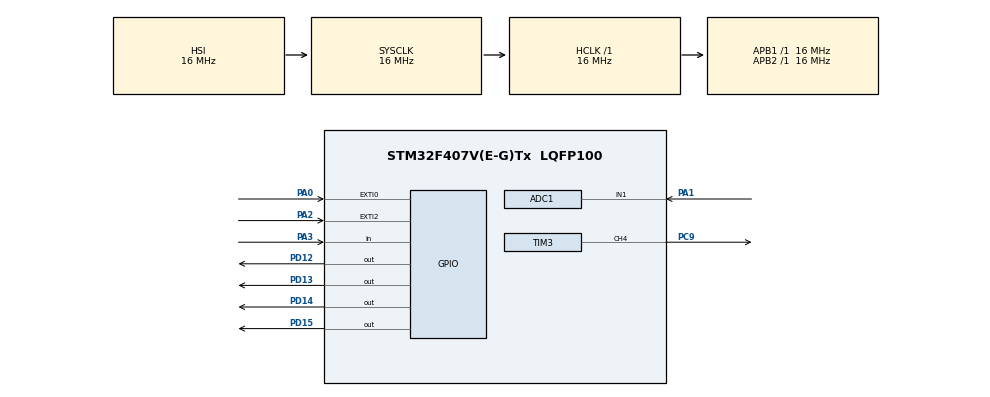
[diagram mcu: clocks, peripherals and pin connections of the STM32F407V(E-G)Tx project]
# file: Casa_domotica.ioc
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ADC1.Channel-0\#ChannelRegularConversion=ADC_CHANNEL_1
ADC1.NbrOfConversionFlag=1
ADC1.Rank-0\#ChannelRegularConversion=1
ADC1.Resolution=ADC_RESOLUTION_8B
ADC1.SamplingTime-0\#ChannelRegularConversion=ADC_SAMPLETIME_3CYCLES
ADC1.master=1
Mcu.Family=STM32F4
Mcu.Name=STM32F407V(E-G)Tx
Mcu.Package=LQFP100
NVIC.EXTI0_IRQn=true\:0\:0\:false\:false\:true\:true\:true
NVIC.EXTI2_IRQn=true\:0\:0\:false\:false\:true\:true\:true
NVIC.PriorityGroup=NVIC_PRIORITYGROUP_0
NVIC.TIM1_UP_TIM10_IRQn=true\:0\:0\:false\:false\:true\:false\:true
NVIC.TimeBase=TIM1_UP_TIM10_IRQn
NVIC.TimeBaseIP=TIM1
PA0-WKUP.Signal=GPXTI0
PA1.Signal=ADCx_IN1
PA2.Signal=GPXTI2
PA3.Signal=GPIO_Input
PC9.Signal=S_TIM3_CH4
PD12.Signal=GPIO_Output
PD13.Signal=GPIO_Output
PD14.Signal=GPIO_Output
PD15.Signal=GPIO_Output
ProjectManager.HeapSize=0x200
ProjectManager.StackSize=0x400
ProjectManager.TargetToolchain=STM32CubeIDE
RCC.48MHZClocksFreq_Value=14285714.285714285
RCC.AHBFreq_Value=16000000
RCC.APB1Freq_Value=16000000
RCC.APB1TimFreq_Value=16000000
RCC.APB2Freq_Value=16000000
RCC.APB2TimFreq_Value=16000000
RCC.CortexFreq_Value=16000000
RCC.HCLKFreq_Value=16000000
RCC.HSE_VALUE=8000000
RCC.HSI_VALUE=16000000
RCC.LSE_VALUE=32768
RCC.PLLM=8
RCC.PLLN=50
RCC.PLLP=RCC_PLLP_DIV4
RCC.PLLQ=7
RCC.SYSCLKFreq_VALUE=16000000
RCC.VCOOutputFreq_Value=100000000
SH.ADCx_IN1.0=ADC1_IN1,IN1
SH.S_TIM3_CH4.0=TIM3_CH4,PWM Generation4 CH4
TIM3.Channel-PWM\ Generation4\ CH4=TIM_CHANNEL_4
TIM3.Period=2000
TIM3.Prescaler=160
VP_SYS_VS_tim1.Mode=TIM1
VP_TIM3_VS_ClockSourceINT.Mode=Internal
board=STM32F407G-DISC1

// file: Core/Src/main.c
/* USER CODE BEGIN Header */
/**
  ******************************************************************************
  * @file           : main.c
  * @brief          : Main program body
  ******************************************************************************
  * @attention
  *
  * <h2><center>&copy; Copyright (c) 2022 STMicroelectronics.
  * All rights reserved.</center></h2>
  *
  * This software component is licensed by ST under BSD 3-Clause license,
  * the "License"; You may not use this file except in compliance with the
  * License. You may obtain a copy of the License at:
  *                        opensource.org/licenses/BSD-3-Clause
  *
  ******************************************************************************
  */
/* USER CODE END Header */
#include "main.h"

ADC_HandleTypeDef hadc1;

TIM_HandleTypeDef htim3;

void SystemClock_Config(void);
static void MX_GPIO_Init(void);
static void MX_ADC1_Init(void);
static void MX_TIM3_Init(void);

/* USER CODE BEGIN 0 */

//-----------------------------Variables globales. Ver en etapa de debugging en "Live Expressions"-----------------------------
uint16_t valor_LDR=0; //Señal del LDR.

//-----------------------------Interrupciones-----------------------------
volatile uint8_t intrusion=0; //Flag intrusión en la sala
volatile uint8_t alarma_on=0;

//-----------------------------Debounce botón alarma-----------------------------
volatile long t_ultimo_debounce=0; //IMPRESCINDIBLE INICIALIZAR
int threshold=50;// deben pasar 50ms entre señales para considerarlo pulsado de nuevo

void HAL_GPIO_EXTI_Callback(uint16_t GPIO_Pin){
	if(GPIO_Pin==GPIO_PIN_2){
		if(alarma_on==1){
			intrusion=1;
		}
	}
	if(GPIO_Pin==GPIO_PIN_0){
		if((HAL_GetTick()-t_ultimo_debounce)>threshold){ //Si han pasado al menos <Threshold> ms desde el último "HIGH"
			if(alarma_on==0) alarma_on=1;
			else alarma_on=0;
			t_ultimo_debounce=HAL_GetTick();
		}
	}
}

/* USER CODE END 0 */

int main(void)
{
  /* USER CODE BEGIN 1 */
	/*
	Pinout:
	PA0		-	Toggle alarma	-	Entrada: botón azul
	PA1		-	LDR				-	ADC1
	PA2		-	HALL			-	Interrupción
	PA3		-	PIR				-	Entrada
	---------------------------------
	PC9		-	Servo			-	TIM 3 PWM CH4
	---------------------------------
	PD12	-	Calibrando		-	Salida: LED verde
	PD13	-	Alarma:ON		-	Salida: LED naranja
	PD14	-	Intrusión		-	Salida: LED rojo
	PD15	-	Iluminación 	-	Salida: LED azul
	*/
  /* USER CODE END 1 */

  /* MCU Configuration--------------------------------------------------------*/

  /* Reset of all peripherals, Initializes the Flash interface and the Systick. */
  HAL_Init();

  /* Configure the system clock */
  SystemClock_Config();

  /* Initialize all configured peripherals */
  MX_GPIO_Init();
  MX_ADC1_Init();
  MX_TIM3_Init();
  /* USER CODE BEGIN 2 */
  //-----------------------------Flags-----------------------------
    uint8_t toldo_subido=1; 	//flag estado del toldo
    uint8_t flag_presencia=0; //flag presencia en la sala

  //-----------------------------Setup-----------------------------
  //Calibración del sensor PIR. enciendo y apago un LED de la placa para indicarlo
  HAL_GPIO_WritePin(GPIOD, GPIO_PIN_12,1);
  HAL_Delay(5000);
  HAL_GPIO_WritePin(GPIOD, GPIO_PIN_12,0);

  HAL_TIM_PWM_Start(&htim3, TIM_CHANNEL_4); //Inicio del timer para el servo
  /*
  Valores (empíricos) del servomotor
  0º 	- 	70	-	(0.7ms)
  90º 	- 	140	- 	(1.4ms)
  180º 	- 	210	-	(2.1ms)
  */
  __HAL_TIM_SET_COMPARE(&htim3, TIM_CHANNEL_4,210); // Toldo a posición inicial
  /* USER CODE END 2 */

  /* Infinite loop */
  /* USER CODE BEGIN WHILE */
  while (1)
  {
	  //Indicador de la alarma
	  HAL_GPIO_WritePin(GPIOD,GPIO_PIN_13, alarma_on);

	  //Activación de la alarma
	  HAL_GPIO_WritePin(GPIOD, GPIO_PIN_14,intrusion);

	  //Lectura del LDR por polling
	  HAL_ADC_Start(&hadc1);
	  if (HAL_ADC_PollForConversion(&hadc1,HAL_MAX_DELAY)==HAL_OK){ 	//Realizo la conversión y compruebo que el tiempo no excede al max delay
		  valor_LDR=HAL_ADC_GetValue(&hadc1); 	//Guardo el valor del LDR
	  }
	  HAL_ADC_Stop(&hadc1);

	  //Acción del servomotor (toldo) según nivel de luz
	  if(valor_LDR<100 && toldo_subido==1){ //Si da la luz intensamente
		  __HAL_TIM_SET_COMPARE(&htim3, TIM_CHANNEL_4,140); //Bajar el toldo
		  toldo_subido=0;
	  }else if (valor_LDR>100 && toldo_subido==0){
		  __HAL_TIM_SET_COMPARE(&htim3, TIM_CHANNEL_4,210); //Subir toldo
		  toldo_subido=1;
	  }

	  //Lectura del PIR por polling
	  flag_presencia=HAL_GPIO_ReadPin(GPIOA, GPIO_PIN_3); //Lectura del PIR
	  if(flag_presencia==1){
		  if (alarma_on==0) HAL_GPIO_WritePin(GPIOD, GPIO_PIN_15,1); //Encender luces
		  else intrusion=1; //Si la alarma está puesta, entonces es un intruso
	  }
	  else{
		  HAL_GPIO_WritePin(GPIOD, GPIO_PIN_15,0); //Apagar luces
	  }

    /* USER CODE END WHILE */

  }
}

void SystemClock_Config(void)
{
  RCC_OscInitTypeDef RCC_OscInitStruct = {0};
  RCC_ClkInitTypeDef RCC_ClkInitStruct = {0};

  /** Configure the main internal regulator output voltage
  */
  __HAL_RCC_PWR_CLK_ENABLE();
  __HAL_PWR_VOLTAGESCALING_CONFIG(PWR_REGULATOR_VOLTAGE_SCALE1);
  /** Initializes the RCC Oscillators according to the specified parameters
  * in the RCC_OscInitTypeDef structure.
  */
  RCC_OscInitStruct.OscillatorType = RCC_OSCILLATORTYPE_HSI;
  RCC_OscInitStruct.HSIState = RCC_HSI_ON;
  RCC_OscInitStruct.HSICalibrationValue = RCC_HSICALIBRATION_DEFAULT;
  RCC_OscInitStruct.PLL.PLLState = RCC_PLL_NONE;
  if (HAL_RCC_OscConfig(&RCC_OscInitStruct) != HAL_OK)
  {
    Error_Handler();
  }
  /** Initializes the CPU, AHB and APB buses clocks
  */
  RCC_ClkInitStruct.ClockType = RCC_CLOCKTYPE_HCLK|RCC_CLOCKTYPE_SYSCLK
                              |RCC_CLOCKTYPE_PCLK1|RCC_CLOCKTYPE_PCLK2;
  RCC_ClkInitStruct.SYSCLKSource = RCC_SYSCLKSOURCE_HSI;
  RCC_ClkInitStruct.AHBCLKDivider = RCC_SYSCLK_DIV1;
  RCC_ClkInitStruct.APB1CLKDivider = RCC_HCLK_DIV1;
  RCC_ClkInitStruct.APB2CLKDivider = RCC_HCLK_DIV1;

  if (HAL_RCC_ClockConfig(&RCC_ClkInitStruct, FLASH_LATENCY_0) != HAL_OK)
  {
    Error_Handler();
  }
}

static void MX_ADC1_Init(void)
{

  ADC_ChannelConfTypeDef sConfig = {0};

  /** Configure the global features of the ADC (Clock, Resolution, Data Alignment and number of conversion)
  */
  hadc1.Instance = ADC1;
  hadc1.Init.ClockPrescaler = ADC_CLOCK_SYNC_PCLK_DIV2;
  hadc1.Init.Resolution = ADC_RESOLUTION_8B;
  hadc1.Init.ScanConvMode = DISABLE;
  hadc1.Init.ContinuousConvMode = DISABLE;
  hadc1.Init.DiscontinuousConvMode = DISABLE;
  hadc1.Init.ExternalTrigConvEdge = ADC_EXTERNALTRIGCONVEDGE_NONE;
  hadc1.Init.ExternalTrigConv = ADC_SOFTWARE_START;
  hadc1.Init.DataAlign = ADC_DATAALIGN_RIGHT;
  hadc1.Init.NbrOfConversion = 1;
  hadc1.Init.DMAContinuousRequests = DISABLE;
  hadc1.Init.EOCSelection = ADC_EOC_SINGLE_CONV;
  if (HAL_ADC_Init(&hadc1) != HAL_OK)
  {
    Error_Handler();
  }
  /** Configure for the selected ADC regular channel its corresponding rank in the sequencer and its sample time.
  */
  sConfig.Channel = ADC_CHANNEL_1;
  sConfig.Rank = 1;
  sConfig.SamplingTime = ADC_SAMPLETIME_3CYCLES;
  if (HAL_ADC_ConfigChannel(&hadc1, &sConfig) != HAL_OK)
  {
    Error_Handler();
  }

}

static void MX_TIM3_Init(void)
{

  TIM_ClockConfigTypeDef sClockSourceConfig = {0};
  TIM_MasterConfigTypeDef sMasterConfig = {0};
  TIM_OC_InitTypeDef sConfigOC = {0};

  htim3.Instance = TIM3;
  htim3.Init.Prescaler = 160;
  htim3.Init.CounterMode = TIM_COUNTERMODE_UP;
  htim3.Init.Period = 2000;
  htim3.Init.ClockDivision = TIM_CLOCKDIVISION_DIV1;
  htim3.Init.AutoReloadPreload = TIM_AUTORELOAD_PRELOAD_DISABLE;
  if (HAL_TIM_Base_Init(&htim3) != HAL_OK)
  {
    Error_Handler();
  }
  sClockSourceConfig.ClockSource = TIM_CLOCKSOURCE_INTERNAL;
  if (HAL_TIM_ConfigClockSource(&htim3, &sClockSourceConfig) != HAL_OK)
  {
    Error_Handler();
  }
  if (HAL_TIM_PWM_Init(&htim3) != HAL_OK)
  {
    Error_Handler();
  }
  sMasterConfig.MasterOutputTrigger = TIM_TRGO_RESET;
  sMasterConfig.MasterSlaveMode = TIM_MASTERSLAVEMODE_DISABLE;
  if (HAL_TIMEx_MasterConfigSynchronization(&htim3, &sMasterConfig) != HAL_OK)
  {
    Error_Handler();
  }
  sConfigOC.OCMode = TIM_OCMODE_PWM1;
  sConfigOC.Pulse = 0;
  sConfigOC.OCPolarity = TIM_OCPOLARITY_HIGH;
  sConfigOC.OCFastMode = TIM_OCFAST_DISABLE;
  if (HAL_TIM_PWM_ConfigChannel(&htim3, &sConfigOC, TIM_CHANNEL_4) != HAL_OK)
  {
    Error_Handler();
  }
  HAL_TIM_MspPostInit(&htim3);

}

static void MX_GPIO_Init(void)
{
  GPIO_InitTypeDef GPIO_InitStruct = {0};

  /* GPIO Ports Clock Enable */
  __HAL_RCC_GPIOA_CLK_ENABLE();
  __HAL_RCC_GPIOD_CLK_ENABLE();
  __HAL_RCC_GPIOC_CLK_ENABLE();

  /*Configure GPIO pin Output Level */
  HAL_GPIO_WritePin(GPIOD, GPIO_PIN_12|GPIO_PIN_13|GPIO_PIN_14|GPIO_PIN_15, GPIO_PIN_RESET);

  /*Configure GPIO pins : PA0 PA2 */
  GPIO_InitStruct.Pin = GPIO_PIN_0|GPIO_PIN_2;
  GPIO_InitStruct.Mode = GPIO_MODE_IT_RISING;
  GPIO_InitStruct.Pull = GPIO_NOPULL;
  HAL_GPIO_Init(GPIOA, &GPIO_InitStruct);

  /*Configure GPIO pin : PA3 */
  GPIO_InitStruct.Pin = GPIO_PIN_3;
  GPIO_InitStruct.Mode = GPIO_MODE_INPUT;
  GPIO_InitStruct.Pull = GPIO_NOPULL;
  HAL_GPIO_Init(GPIOA, &GPIO_InitStruct);

  /*Configure GPIO pins : PD12 PD13 PD14 PD15 */
  GPIO_InitStruct.Pin = GPIO_PIN_12|GPIO_PIN_13|GPIO_PIN_14|GPIO_PIN_15;
  GPIO_InitStruct.Mode = GPIO_MODE_OUTPUT_PP;
  GPIO_InitStruct.Pull = GPIO_NOPULL;
  GPIO_InitStruct.Speed = GPIO_SPEED_FREQ_LOW;
  HAL_GPIO_Init(GPIOD, &GPIO_InitStruct);

  /* EXTI interrupt init*/
  HAL_NVIC_SetPriority(EXTI0_IRQn, 0, 0);
  HAL_NVIC_EnableIRQ(EXTI0_IRQn);

  HAL_NVIC_SetPriority(EXTI2_IRQn, 0, 0);
  HAL_NVIC_EnableIRQ(EXTI2_IRQn);

}

void HAL_TIM_PeriodElapsedCallback(TIM_HandleTypeDef *htim)
{
  if (htim->Instance == TIM1) {
    HAL_IncTick();
  }
}

void Error_Handler(void)
{
  __disable_irq();
  while (1)
  {
  }
}

/************************ (C) COPYRIGHT STMicroelectronics *****END OF FILE****/
